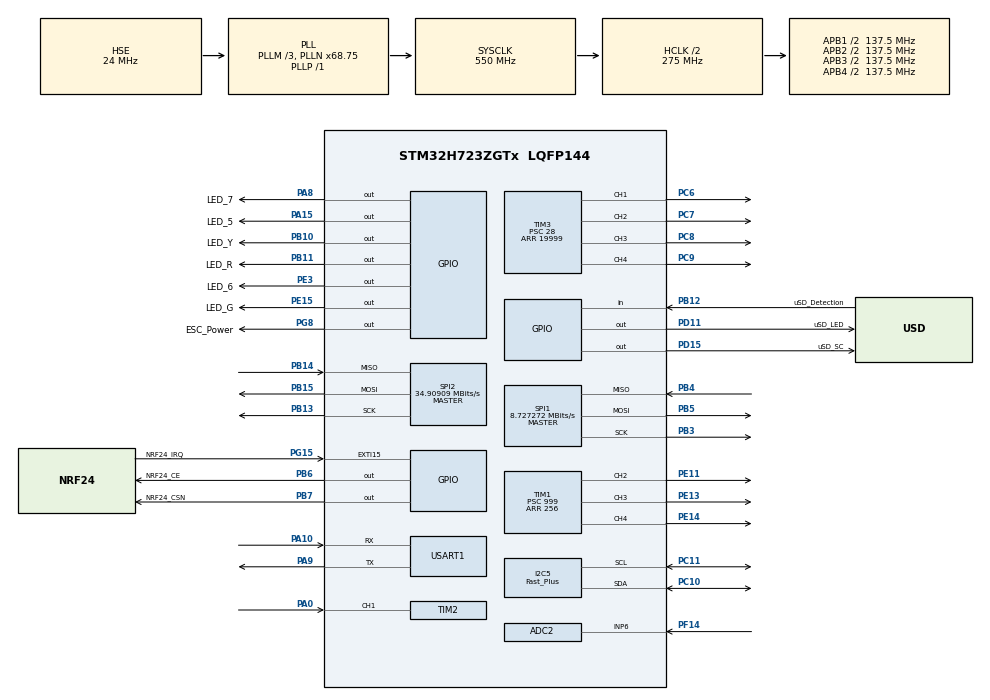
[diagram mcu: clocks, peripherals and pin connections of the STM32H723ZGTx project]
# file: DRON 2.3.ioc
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ADC2.Channel-0\#ChannelRegularConversion=ADC_CHANNEL_6
ADC2.ClockPrescaler=ADC_CLOCK_ASYNC_DIV8
ADC2.ContinuousConvMode=DISABLE
ADC2.ConversionDataManagement=ADC_CONVERSIONDATA_DMA_CIRCULAR
ADC2.EnableAnalogWatchDog2=false
ADC2.ExternalTrigConv=ADC_EXTERNALTRIG_T8_TRGO
ADC2.NbrOfConversionFlag=1
ADC2.OffsetNumber-0\#ChannelRegularConversion=ADC_OFFSET_NONE
ADC2.OffsetSignedSaturation-0\#ChannelRegularConversion=DISABLE
ADC2.Overrun=ADC_OVR_DATA_OVERWRITTEN
ADC2.Rank-0\#ChannelRegularConversion=1
ADC2.Resolution=ADC_RESOLUTION_12B
ADC2.SamplingTime-0\#ChannelRegularConversion=ADC_SAMPLETIME_810CYCLES_5
CORTEX_M7.CPU_DCache=Disabled
CORTEX_M7.CPU_ICache=Disabled
CORTEX_M7.Enable_Spec=MPU_REGION_ENABLE
CORTEX_M7.default_mode_Activation=1
Dma.ADC2.0.Direction=DMA_PERIPH_TO_MEMORY
Dma.ADC2.0.EventEnable=DISABLE
Dma.ADC2.0.FIFOMode=DMA_FIFOMODE_DISABLE
Dma.ADC2.0.Instance=DMA2_Stream0
Dma.ADC2.0.MemDataAlignment=DMA_MDATAALIGN_HALFWORD
Dma.ADC2.0.MemInc=DMA_MINC_ENABLE
Dma.ADC2.0.Mode=DMA_CIRCULAR
Dma.ADC2.0.PeriphDataAlignment=DMA_PDATAALIGN_HALFWORD
Dma.ADC2.0.PeriphInc=DMA_PINC_DISABLE
Dma.ADC2.0.Polarity=HAL_DMAMUX_REQ_GEN_RISING
Dma.ADC2.0.Priority=DMA_PRIORITY_LOW
Dma.ADC2.0.RequestNumber=1
Dma.ADC2.0.SignalID=NONE
Dma.ADC2.0.SyncEnable=DISABLE
Dma.ADC2.0.SyncPolarity=HAL_DMAMUX_SYNC_NO_EVENT
Dma.ADC2.0.SyncRequestNumber=1
Dma.ADC2.0.SyncSignalID=NONE
Dma.Request0=ADC2
Dma.Request1=SPI2_TX
Dma.SPI2_TX.1.Direction=DMA_MEMORY_TO_PERIPH
Dma.SPI2_TX.1.EventEnable=DISABLE
Dma.SPI2_TX.1.FIFOMode=DMA_FIFOMODE_ENABLE
Dma.SPI2_TX.1.FIFOThreshold=DMA_FIFO_THRESHOLD_FULL
Dma.SPI2_TX.1.Instance=DMA1_Stream0
Dma.SPI2_TX.1.MemBurst=DMA_MBURST_SINGLE
Dma.SPI2_TX.1.MemDataAlignment=DMA_MDATAALIGN_BYTE
Dma.SPI2_TX.1.MemInc=DMA_MINC_ENABLE
Dma.SPI2_TX.1.Mode=DMA_NORMAL
Dma.SPI2_TX.1.PeriphBurst=DMA_PBURST_SINGLE
Dma.SPI2_TX.1.PeriphDataAlignment=DMA_PDATAALIGN_BYTE
Dma.SPI2_TX.1.PeriphInc=DMA_PINC_DISABLE
Dma.SPI2_TX.1.Polarity=HAL_DMAMUX_REQ_GEN_RISING
Dma.SPI2_TX.1.Priority=DMA_PRIORITY_LOW
Dma.SPI2_TX.1.RequestNumber=1
Dma.SPI2_TX.1.SignalID=NONE
Dma.SPI2_TX.1.SyncEnable=DISABLE
Dma.SPI2_TX.1.SyncPolarity=HAL_DMAMUX_SYNC_NO_EVENT
Dma.SPI2_TX.1.SyncRequestNumber=1
Dma.SPI2_TX.1.SyncSignalID=NONE
FATFS._FS_LOCK=1
FATFS._MAX_SS=4096
FATFS._USE_LFN=1
I2C5.Analog_Filter=I2C_ANALOGFILTER_ENABLE
I2C5.I2C_Speed_Mode=I2C_Fast_Plus
I2C5.Timing=0x00000000
Mcu.Family=STM32H7
Mcu.Name=STM32H723ZGTx
Mcu.Package=LQFP144
NVIC.ADC_IRQn=true\:0\:0\:true\:false\:true\:true\:true\:true
NVIC.DMA1_Stream0_IRQn=true\:0\:0\:true\:false\:true\:false\:true\:true
NVIC.DMA2_Stream0_IRQn=true\:0\:0\:false\:false\:true\:false\:true\:true
NVIC.EXTI15_10_IRQn=true\:0\:0\:true\:false\:true\:true\:true\:true
NVIC.I2C5_EV_IRQn=true\:1\:0\:true\:false\:true\:true\:true\:true
NVIC.PriorityGroup=NVIC_PRIORITYGROUP_4
NVIC.SPI1_IRQn=true\:0\:0\:false\:false\:true\:true\:true\:true
NVIC.SPI2_IRQn=true\:0\:0\:true\:false\:true\:true\:true\:true
NVIC.TIM23_IRQn=true\:0\:0\:false\:false\:true\:true\:true\:true
NVIC.TIM24_IRQn=true\:0\:0\:false\:false\:true\:true\:true\:true
NVIC.TIM2_IRQn=true\:1\:0\:true\:false\:true\:true\:true\:true
NVIC.USART1_IRQn=true\:0\:0\:true\:false\:true\:true\:true\:true
PA0.Signal=S_TIM2_CH1_ETR
PA10.Mode=Asynchronous
PA10.Signal=USART1_RX
PA13(JTMS/SWDIO).Mode=Serial_Wire
PA13(JTMS/SWDIO).Signal=DEBUG_JTMS-SWDIO
PA14(JTCK/SWCLK).Mode=Serial_Wire
PA14(JTCK/SWCLK).Signal=DEBUG_JTCK-SWCLK
PA15(JTDI).GPIO_Label=LED_5
PA15(JTDI).Signal=GPIO_Output
PA8.GPIO_Label=LED_7
PA8.Signal=GPIO_Output
PA9.Mode=Asynchronous
PA9.Signal=USART1_TX
PB10.GPIO_Label=LED_Y
PB10.Signal=GPIO_Output
PB11.GPIO_Label=LED_R
PB11.Signal=GPIO_Output
PB12.GPIO_Label=uSD_Detection
PB12.Signal=GPIO_Input
PB13.GPIO_Speed=GPIO_SPEED_FREQ_MEDIUM
PB13.Mode=Full_Duplex_Master
PB13.Signal=SPI2_SCK
PB14.GPIO_PuPd=GPIO_PULLUP
PB14.GPIO_Speed=GPIO_SPEED_FREQ_MEDIUM
PB14.Mode=Full_Duplex_Master
PB14.Signal=SPI2_MISO
PB15.GPIO_PuPd=GPIO_PULLUP
PB15.GPIO_Speed=GPIO_SPEED_FREQ_MEDIUM
PB15.Mode=Full_Duplex_Master
PB15.Signal=SPI2_MOSI
PB3(JTDO/TRACESWO).Mode=Full_Duplex_Master
PB3(JTDO/TRACESWO).Signal=SPI1_SCK
PB4(NJTRST).Mode=Full_Duplex_Master
PB4(NJTRST).Signal=SPI1_MISO
PB5.Mode=Full_Duplex_Master
PB5.Signal=SPI1_MOSI
PB6.GPIO_Label=NRF24_CE
PB6.Signal=GPIO_Output
PB7.GPIO_Label=NRF24_CSN
PB7.Signal=GPIO_Output
PC10.GPIO_Pu=GPIO_PULLUP
PC10.Mode=I2C
PC10.Signal=I2C5_SDA
PC11.GPIO_Pu=GPIO_PULLUP
PC11.Mode=I2C
PC11.Signal=I2C5_SCL
PC6.Signal=S_TIM3_CH1
PC7.Signal=S_TIM3_CH2
PC8.Signal=S_TIM3_CH3
PC9.Signal=S_TIM3_CH4
PD11.GPIO_Label=uSD_LED
PD11.Signal=GPIO_Output
PD15.GPIO_Label=uSD_SC
PD15.GPIO_Speed=GPIO_SPEED_FREQ_MEDIUM
PD15.Signal=GPIO_Output
PE11.Signal=S_TIM1_CH2
PE13.Signal=S_TIM1_CH3
PE14.Signal=S_TIM1_CH4
PE15.GPIO_Label=LED_G
PE15.Signal=GPIO_Output
PE3.GPIO_Label=LED_6
PE3.Signal=GPIO_Output
PF14.Mode=IN6-Single-Ended
PF14.Signal=ADC2_INP6
PG15.GPIO_Label=NRF24_IRQ
PG15.GPIO_ModeDefaultEXTI=GPIO_MODE_IT_FALLING
PG15.Signal=GPXTI15
PG8.GPIO_Label=ESC_Power
PG8.Signal=GPIO_Output
PH0-OSC_IN.Mode=HSE-External-Oscillator
PH0-OSC_IN.Signal=RCC_OSC_IN
PH1-OSC_OUT.Mode=HSE-External-Oscillator
PH1-OSC_OUT.Signal=RCC_OSC_OUT
ProjectManager.HeapSize=0x200
ProjectManager.StackSize=0x400
ProjectManager.TargetToolchain=STM32CubeIDE
RCC.ADCFreq_Value=69818181.81818181
RCC.APB1Freq_Value=137500000
RCC.APB2Freq_Value=137500000
RCC.APB3Freq_Value=137500000
RCC.APB4Freq_Value=137500000
RCC.CortexFreq_Value=550000000
RCC.D1PPRE=RCC_APB3_DIV2
RCC.D2PPRE1=RCC_APB1_DIV2
RCC.D2PPRE2=RCC_APB2_DIV2
RCC.D3PPRE=RCC_APB4_DIV2
RCC.DIVM1=3
RCC.DIVM2=22
RCC.DIVM3=24
RCC.DIVN1=68
RCC.DIVN2=192
RCC.DIVN3=200
RCC.DIVP1=1
RCC.DIVP2=3
RCC.DIVP3=1
RCC.DIVQ3=10
RCC.HCLKFreq_Value=275000000
RCC.HPRE=RCC_HCLK_DIV2
RCC.HSE_VALUE=24000000
RCC.I2C123CLockSelection=RCC_I2C1235CLKSOURCE_CSI
RCC.PLL2FRACN=0
RCC.PLL3FRACN=0
RCC.PLLFRACN=6144
RCC.PLLSourceVirtual=RCC_PLLSOURCE_HSE
RCC.SPI123CLockSelection=RCC_SPI123CLKSOURCE_PLL2
RCC.SPI6CLockSelection=RCC_SPI6CLKSOURCE_PLL3
RCC.SYSCLKFreq_VALUE=550000000
RCC.SYSCLKSource=RCC_SYSCLKSOURCE_PLLCLK
RCC.SupplySource=PWR_LDO_SUPPLY
RCC.USBFreq_Value=275000000
SH.S_TIM1_CH2.0=TIM1_CH2,PWM Generation2 CH2
SH.S_TIM1_CH3.0=TIM1_CH3,PWM Generation3 CH3
SH.S_TIM1_CH4.0=TIM1_CH4,PWM Generation4 CH4
SH.S_TIM2_CH1_ETR.0=TIM2_CH1,Input_Capture1_from_TI1
SH.S_TIM3_CH1.0=TIM3_CH1,PWM Generation1 CH1
SH.S_TIM3_CH2.0=TIM3_CH2,PWM Generation2 CH2
SH.S_TIM3_CH3.0=TIM3_CH3,PWM Generation3 CH3
SH.S_TIM3_CH4.0=TIM3_CH4,PWM Generation4 CH4
SPI1.BaudRatePrescaler=SPI_BAUDRATEPRESCALER_8
SPI1.CalculateBaudRate=8.727272 MBits/s
SPI1.DataSize=SPI_DATASIZE_8BIT
SPI1.Direction=SPI_DIRECTION_2LINES
SPI1.Mode=SPI_MODE_MASTER
SPI1.VirtualType=VM_MASTER
SPI2.BaudRatePrescaler=SPI_BAUDRATEPRESCALER_2
SPI2.CalculateBaudRate=34.90909 MBits/s
SPI2.DataSize=SPI_DATASIZE_8BIT
SPI2.Direction=SPI_DIRECTION_2LINES
SPI2.MasterInterDataIdleness=SPI_MASTER_INTERDATA_IDLENESS_00CYCLE
SPI2.MasterSSIdleness=SPI_MASTER_SS_IDLENESS_00CYCLE
SPI2.Mode=SPI_MODE_MASTER
SPI2.VirtualType=VM_MASTER
TIM1.AutoReloadPreload=TIM_AUTORELOAD_PRELOAD_ENABLE
TIM1.Channel-PWM\ Generation2\ CH2=TIM_CHANNEL_2
TIM1.Channel-PWM\ Generation3\ CH3=TIM_CHANNEL_3
TIM1.Channel-PWM\ Generation4\ CH4=TIM_CHANNEL_4
TIM1.Period=256
TIM1.Prescaler=999
TIM2.AutoReloadPreload=TIM_AUTORELOAD_PRELOAD_ENABLE
TIM2.Channel-Input_Capture1_from_TI1=TIM_CHANNEL_1
TIM2.Period=999
TIM2.Prescaler=274
TIM23.Channel-Output\ Compare1\ No\ Output=TIM_CHANNEL_1
TIM23.Period=1374
TIM23.Prescaler=99
TIM24.Channel-Output\ Compare1\ No\ Output=TIM_CHANNEL_1
TIM24.Period=27499
TIM24.Prescaler=999
TIM3.AutoReloadPreload=TIM_AUTORELOAD_PRELOAD_DISABLE
TIM3.Channel-PWM\ Generation1\ CH1=TIM_CHANNEL_1
TIM3.Channel-PWM\ Generation2\ CH2=TIM_CHANNEL_2
TIM3.Channel-PWM\ Generation3\ CH3=TIM_CHANNEL_3
TIM3.Channel-PWM\ Generation4\ CH4=TIM_CHANNEL_4
TIM3.Period=19999
TIM3.Prescaler=28
TIM8.AutoReloadPreload=TIM_AUTORELOAD_PRELOAD_DISABLE
TIM8.Period=9999
TIM8.Prescaler=5549
TIM8.TIM_MasterOutputTrigger=TIM_TRGO_UPDATE
TIM8.TIM_MasterOutputTrigger2=TIM_TRGO2_UPDATE
USART1.VirtualMode-Asynchronous=VM_ASYNC
VP_FATFS_VS_Generic.Mode=User_defined
VP_MEMORYMAP_VS_MEMORYMAP.Mode=CurAppReg
VP_TIM23_VS_no_output1.Mode=Output Compare1 No Output
VP_TIM24_VS_no_output1.Mode=Output Compare1 No Output
VP_TIM8_VS_ClockSourceINT.Mode=Internal
board=custom

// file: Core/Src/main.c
/* USER CODE BEGIN Header */
/**
  ******************************************************************************
  * @file           : main.c
  * @brief          : Main program body
  ******************************************************************************
  * @attention
  *
  * Copyright (c) 2024 STMicroelectronics.
  * All rights reserved.
  *
  * This software is licensed under terms that can be found in the LICENSE file
  * in the root directory of this software component.
  * If no LICENSE file comes with this software, it is provided AS-IS.
  *
  ******************************************************************************
  */
/* USER CODE END Header */
#include "main.h"
#include "adc.h"
#include "dma.h"
#include "fatfs.h"
#include "i2c.h"
#include "memorymap.h"
#include "spi.h"
#include "tim.h"
#include "usart.h"
#include "gpio.h"

/* USER CODE BEGIN Includes */
#include "fatfs_sd.h"

/* USER CODE END Includes */

/* USER CODE BEGIN PD */
#define DRAM __attribute__((section (".DRAM")))
#define IRAM __attribute__((section (".IRAM")))
#define RAM1 __attribute__((section (".RAM1")))

#define LED_G_1 HAL_GPIO_WritePin(LED_G_GPIO_Port, LED_G_Pin, GPIO_PIN_SET)
#define LED_G_0 HAL_GPIO_WritePin(LED_G_GPIO_Port, LED_G_Pin, GPIO_PIN_RESET)

#define LED_R_1 HAL_GPIO_WritePin(LED_R_GPIO_Port, LED_R_Pin, GPIO_PIN_SET)
#define LED_R_0 HAL_GPIO_WritePin(LED_R_GPIO_Port, LED_R_Pin, GPIO_PIN_RESET)

#define LED_Y_1 HAL_GPIO_WritePin(LED_Y_GPIO_Port, LED_Y_Pin, GPIO_PIN_SET)
#define LED_Y_0 HAL_GPIO_WritePin(LED_Y_GPIO_Port, LED_Y_Pin, GPIO_PIN_RESET)

#define LED_5_1 HAL_GPIO_WritePin(LED_5_GPIO_Port, LED_5_Pin, GPIO_PIN_SET) // GY-87 LED
#define LED_5_0 HAL_GPIO_WritePin(LED_5_GPIO_Port, LED_5_Pin, GPIO_PIN_RESET)

#define LED_6_1 HAL_GPIO_WritePin(LED_6_GPIO_Port, LED_6_Pin, GPIO_PIN_SET) // NRF24 LED
#define LED_6_0 HAL_GPIO_WritePin(LED_6_GPIO_Port, LED_6_Pin, GPIO_PIN_RESET)

#define LED_7_1 HAL_GPIO_WritePin(LED_7_GPIO_Port, LED_7_Pin, GPIO_PIN_SET) // USART LED
#define LED_7_0 HAL_GPIO_WritePin(LED_7_GPIO_Port, LED_7_Pin, GPIO_PIN_RESET)

#define LED_uSD_1 HAL_GPIO_WritePin(uSD_LED_GPIO_Port, uSD_LED_Pin, GPIO_PIN_SET) // uSD LED
#define LED_uSD_0 HAL_GPIO_WritePin(uSD_LED_GPIO_Port, uSD_LED_Pin, GPIO_PIN_RESET)

#define ESC_POWER_1 HAL_GPIO_WritePin(ESC_Power_GPIO_Port, ESC_Power_Pin, GPIO_PIN_SET)//1 = unucitve
#define ESC_POWER_0 HAL_GPIO_WritePin(ESC_Power_GPIO_Port, ESC_Power_Pin, GPIO_PIN_RESET)//0 = active

#define NRF24_CSN_HIGH		HAL_GPIO_WritePin(NRF24_CSN_GPIO_Port, NRF24_CSN_Pin, GPIO_PIN_SET)
#define NRF24_CSN_LOW		HAL_GPIO_WritePin(NRF24_CSN_GPIO_Port, NRF24_CSN_Pin, GPIO_PIN_RESET)

#define NRF24_CE_HIGH		HAL_GPIO_WritePin(NRF24_CE_GPIO_Port, NRF24_CE_Pin, GPIO_PIN_SET)
#define NRF24_CE_LOW		HAL_GPIO_WritePin(NRF24_CE_GPIO_Port, NRF24_CE_Pin, GPIO_PIN_RESET)

/* USER CODE END PD */

/* USER CODE BEGIN PV */
IRAM MPU6050_Struct MPU6050;
IRAM Complementary_Filter data;
IRAM BMP180_Struct BMP180;
IRAM NRF24_Struct NRF24;
IRAM Dron MYDRON;
IRAM Stack Old_Data_stack;
IRAM HMC5883L_Struct HMC5883L;
IRAM USART_Struct USART;

///////// main
IRAM int TIM_inte_SD = 0, TIM_inte = 0;
IRAM uint8_t STARTUP = 1;
IRAM uint32_t NRF_TIM_Inte = 0;
RAM1 uint32_t analogmess;
IRAM uint32_t i = 0, loopnum = 0;
IRAM uint8_t NRF24_Messages_SC = 0;
IRAM uint8_t NRF24_inte = 0;
IRAM uint16_t FDP_D_Gain_AR = 0;
IRAM uint16_t FDP_D_Gain = 0;
const float looptime = 0.001;
IRAM float wobble_strenght = 1;
const uint16_t DRON_SLOWFALING = 3000;
IRAM uint8_t DRON_ON_GRUND;

#define FDP_Mag_Z_FQ 2
#define FDP_FQ 2

///////////// uSD
RAM1 FATFS fs;
RAM1 FRESULT fresult;
RAM1 FIL fil;
RAM1 UINT br, bw;

IRAM uint32_t Mainloop_Number = 0;
IRAM uint32_t SD_In_Use = 0;
RAM1 uint8_t DataToSendBuffer[129000];//129
IRAM uint8_t SD_enable_Flag = 0;
/* USER CODE END PV */

void SystemClock_Config(void);
void PeriphCommonClock_Config(void);
static void MPU_Config(void);

int main(void)
{

  /* MPU Configuration--------------------------------------------------------*/
  MPU_Config();

  /* MCU Configuration--------------------------------------------------------*/

  /* Reset of all peripherals, Initializes the Flash interface and the Systick. */
  HAL_Init();

  /* Configure the system clock */
  SystemClock_Config();

  /* Configure the peripherals common clocks */
  PeriphCommonClock_Config();

  /* Initialize all configured peripherals */
  MX_GPIO_Init();
  MX_DMA_Init();
  MX_I2C5_Init();
  MX_ADC2_Init();
  MX_SPI2_Init();
  MX_USART1_UART_Init();
  MX_TIM1_Init();
  MX_TIM8_Init();
  MX_TIM3_Init();
  MX_FATFS_Init();
  MX_TIM2_Init();
  MX_SPI1_Init();
  MX_TIM23_Init();
  MX_TIM24_Init();
  /* USER CODE BEGIN 2 */
  	  ESC_POWER_1;

  	STARTUP = 1;
  	DRON_ON_GRUND = 1;

  	MPU6050.Acc.Acc_Scale = 8192;
  	MPU6050.Acc.acc_x_cal = 0;
  	MPU6050.Acc.acc_y_cal = 0;
  	MPU6050.Acc.acc_z_cal = 0;
  	MPU6050.Acc.ax_ang = 0;
  	MPU6050.Acc.ay_ang = 0;
  	MPU6050.Acc.az_ang = 0;
  	MPU6050.Acc.ax = 0;
  	MPU6050.Acc.ay = 0;
  	MPU6050.Acc.az = 0;
  	MPU6050.Gyr.Gyr_Scale = 65.5;
  	MPU6050.Gyr.gyr_x_cal = 0;
  	MPU6050.Gyr.gyr_y_cal = 0;
  	MPU6050.Gyr.gyr_z_cal = 0;
  	MPU6050.Gyr.gx = 0;
  	MPU6050.Gyr.gy = 0;
  	MPU6050.Gyr.gz = 0;
  	MPU6050.MPU6050_IRQ = 0;

  	data.x = 0;
  	data.y = 0;
  	data.z = 0;
  	data.ox = 0;
  	data.oy = 0;
  	data.oz = 0;

	NRF24.NRF24_MODE = NRF24_Error;
	NRF24.Status = NRF24_Ready;
	NRF24.Message_Status = 0;
	NRF24.NRF24_Message_count = 0;
	NRF24.Timer_1 = 0;
	NRF24.Timer_2 = 0;
	NRF24.Step = 0;
	NRF24.SPI_Rx_Inte = 0;
	NRF24.SPI_Tx_Inte = 0;

	BMP180.BMP180_IRQ = 0;
	BMP180.ampritude = 0;
	BMP180.pres = 0;
	BMP180.startpres = 0;
	BMP180.temp = 0;
	BMP180.Raw_Data.pressure = 0;
	BMP180.Raw_Data.temperature = 0;
	BMP180.Timer_1 = 0;
	BMP180.Step = 0;

	MYDRON.dronheight = 0;
	MYDRON.batterysize = 0;

	MYDRON.Pitch.Angle_Error_Sum = 0;
	MYDRON.Pitch.Angle_Error = 0;
	MYDRON.Pitch.Angular_Rate_Error = 0;
	MYDRON.Pitch.Angular_Rate_Error_Sum = 0;
	MYDRON.Pitch.Last_Wanted_rx = 0;
	MYDRON.Pitch.Now = 0;
	MYDRON.Pitch.Old_Angle_Error = 0;
	MYDRON.Pitch.Old_Angular_Rate_Error = 0;
	MYDRON.Pitch.Value = 0;
	MYDRON.Pitch.Wanted = 0;
	MYDRON.Pitch.Wanted_Factor = 0.65;
	MYDRON.Pitch.Wanted_rx = 0;
	MYDRON.Pitch.Wanted_v = 0;

	MYDRON.Rool.Angle_Error_Sum = 0;
	MYDRON.Rool.Angle_Error = 0;
	MYDRON.Rool.Angular_Rate_Error = 0;
	MYDRON.Rool.Angular_Rate_Error_Sum = 0;
	MYDRON.Rool.Last_Wanted_rx = 0;
	MYDRON.Rool.Now = 0;
	MYDRON.Rool.Old_Angle_Error = 0;
	MYDRON.Rool.Old_Angular_Rate_Error = 0;
	MYDRON.Rool.Value = 0;
	MYDRON.Rool.Wanted = 0;
	MYDRON.Rool.Wanted_Factor = 0.66;
	MYDRON.Rool.Wanted_rx = 0;
	MYDRON.Rool.Wanted_v = 0;

	MYDRON.Yaw.Angle_Error_Sum = 0;
	MYDRON.Yaw.Angle_Error = 0;
	MYDRON.Yaw.Angular_Rate_Error = 0;
	MYDRON.Yaw.Angular_Rate_Error_Sum = 0;
	MYDRON.Yaw.Last_Wanted_rx = 0;
	MYDRON.Yaw.Now = 0;
	MYDRON.Yaw.Old_Angle_Error = 0;
	MYDRON.Yaw.Old_Angular_Rate_Error = 0;
	MYDRON.Yaw.Value = 0;
	MYDRON.Yaw.Wanted = 0;
	MYDRON.Yaw.Wanted_Factor = 0.6;
	MYDRON.Yaw.Wanted_rx = 0;
	MYDRON.Yaw.Wanted_v = 0;

	MYDRON.PID_Pitch.Angle_Factors[0] = 6;
	MYDRON.PID_Pitch.Angle_Factors[1] = 8;
	MYDRON.PID_Pitch.Angle_Factors[2] = 25;
	MYDRON.PID_Pitch.Angle_Factors[3] = 0;
	MYDRON.PID_Pitch.Angle_Factors[4] = 0;
	MYDRON.PID_Pitch.Angular_Rate_Factors[0] = 10;
	MYDRON.PID_Pitch.Angular_Rate_Factors[1] = 0;
	MYDRON.PID_Pitch.Angular_Rate_Factors[2] = 30;
	MYDRON.PID_Pitch.Angular_Rate_Factors[3] = 0;
	MYDRON.PID_Pitch.Angular_Rate_Factors[4] = 0;
	MYDRON.PID_Pitch.Angle_Value = 0;
	MYDRON.PID_Pitch.Angular_Rate_Value = 0;

	MYDRON.PID_Rool.Angle_Factors[0] = 5;
	MYDRON.PID_Rool.Angle_Factors[1] = 10;
	MYDRON.PID_Rool.Angle_Factors[2] = 0;
	MYDRON.PID_Rool.Angle_Factors[3] = 0;
	MYDRON.PID_Rool.Angle_Factors[4] = 0;
	MYDRON.PID_Rool.Angular_Rate_Factors[0] =  10;
	MYDRON.PID_Rool.Angular_Rate_Factors[1] = 0;
	MYDRON.PID_Rool.Angular_Rate_Factors[2] = 20;
	MYDRON.PID_Rool.Angular_Rate_Factors[3] = 0;
	MYDRON.PID_Rool.Angular_Rate_Factors[4] = 0;
	MYDRON.PID_Rool.Angle_Value = 0;
	MYDRON.PID_Rool.Angular_Rate_Value = 0;

	MYDRON.PID_Yaw.Angle_Factors[0] = 10;
	MYDRON.PID_Yaw.Angle_Factors[1] = 0;
	MYDRON.PID_Yaw.Angle_Factors[2] = 0;
	MYDRON.PID_Yaw.Angle_Factors[3] = 0;
	MYDRON.PID_Yaw.Angle_Factors[4] = 0;
	MYDRON.PID_Yaw.Angular_Rate_Factors[0] = 15;
	MYDRON.PID_Yaw.Angular_Rate_Factors[1] = 0;
	MYDRON.PID_Yaw.Angular_Rate_Factors[2] = 5;
	MYDRON.PID_Yaw.Angular_Rate_Factors[3] = 0;
	MYDRON.PID_Yaw.Angular_Rate_Factors[4] = 0;
	MYDRON.PID_Yaw.Angle_Value = 0;
	MYDRON.PID_Yaw.Angular_Rate_Value = 0;

	MYDRON.Thrust.Now = 0;
	MYDRON.Thrust.Old_Speed_1 = min_speed;
	MYDRON.Thrust.Old_Speed_2 = min_speed;
	MYDRON.Thrust.Old_Speed_3 = min_speed;
	MYDRON.Thrust.Old_Speed_4 = min_speed;
	MYDRON.Thrust.Speed_1 = min_speed;
	MYDRON.Thrust.Speed_2 = min_speed;
	MYDRON.Thrust.Speed_3 = min_speed;
	MYDRON.Thrust.Speed_4 = min_speed;
	MYDRON.Thrust.Thrust_Limit = 10000;
	MYDRON.Thrust.Values = 0;
	MYDRON.Thrust.Wanted = 0;

	MYDRON.Status.Battery = DRON_BATTERY_OK;
	MYDRON.Status.Code = DRON_CODE_OK;
	MYDRON.Status.Connection = DRON_CONNECTED;
	MYDRON.Status.Wobble = NO_WOBBLE;

	HMC5883L.Directions.Heading = 0;
	HMC5883L.Directions.Old_X = 0;
	HMC5883L.Directions.Old_Y = 0;
	HMC5883L.Directions.Old_Z = 0;
	HMC5883L.Directions.X = 0;
	HMC5883L.Directions.Y = 0;
	HMC5883L.Directions.Z = 0;
	HMC5883L.HMC583L_IRQ = 0;
	HMC5883L.Off_Set_Values.X = 0;
	HMC5883L.Off_Set_Values.Y = 0;
	HMC5883L.Off_Set_Values.Z = 0;

  	TIM_inte_SD = 0, TIM_inte = 0;
  	NRF_TIM_Inte = 0;
  	FDP_D_Gain_AR = 0;
  	FDP_D_Gain = 0;
  	Mainloop_Number = 0;
  	SD_In_Use = 0;
  	wobble_strenght = 1;
  	i = 0, loopnum = 0;
  	NRF24_inte = 0;

  	uint8_t o[3] = "Odb";
  	uint8_t n[3] = "Nad";

  	LED_5_1;
  	LED_6_1;
  	LED_7_1;
  	LED_uSD_1;
  	LED_G_1;
  	LED_Y_1;
  	LED_R_1;
  	HAL_Delay(1000);
  	LED_G_0;
  	LED_Y_0;
  	LED_R_0;
  	LED_5_0;
  	LED_6_0;
  	LED_7_0;
  	LED_uSD_0;

  	for(int i = 0; i < 4000; i++){
  		Old_Data_stack.olddata[i] = 0;
  	}
  	Old_Data_stack.start_pointer = 0;
  	Old_Data_stack.end_pointer = 4000;

  	analogmess = 0;

  	HAL_TIM_Base_Start(&htim8);
  	HAL_ADC_Start_DMA(&hadc2, &analogmess, 1);
  	LED_R_1;
  	while(analogmess == 0){

  	}
  	LED_R_0;

  	Get_batteryvalue();

  	HAL_TIM_PWM_Start(&htim1, TIM_CHANNEL_2);//pwm do diodt RGB
  	HAL_TIM_PWM_Start(&htim1, TIM_CHANNEL_3);
  	HAL_TIM_PWM_Start(&htim1, TIM_CHANNEL_4);

  	RGB_LED_For_BAT(MYDRON.batterysize);
  	if(MYDRON.Status.Battery == DRON_BATTERY_RUN_OUT)
  	{
  		LED_R_1;
  		while(1){

  		}
  	}
  	if(MYDRON.Status.Battery == DRON_BATTERY_CRIT_VAL){
  		LED_R_1;

  		while(1){
  		}
  	}

  /////////////////////////////// uSD
	SD_enable_Flag = HAL_GPIO_ReadPin(uSD_Detection_GPIO_Port, uSD_Detection_Pin);// jezeli karta SD jest wlozona, pin CardDetect jest zwierany do masy

	if(SD_enable_Flag == 1){
		SD_enable_Flag = 0;
	}
	else{
		SD_enable_Flag = 1;
	}

	if(SD_enable_Flag == 1){
		LED_uSD_1;
		fresult = f_mount(&fs, "/", 1);
		fresult = f_unlink("/file.txt");//skasowanie poprzedniego pliku
		fresult = f_mount(&fs, "/", 1);
		fresult = f_open(&fil, "file.txt", FA_CREATE_ALWAYS | FA_WRITE);// utwozenie nowego pliku
		LED_uSD_0;

		LED_uSD_1;
		for(int i = 0; i < 129000; i++){
			DataToSendBuffer[i] = 49;
		}
		fresult = f_write(&fil, DataToSendBuffer, 129, &bw);//64000
		fresult = f_close(&fil);

		if(fresult != FR_OK){
			NVIC_SystemReset();
			while(1){

			}
		}
		LED_uSD_0;
	}

	/////////////////////////////// MPU6050
		LED_5_1;
		if(MPU6050_INIT(&hi2c5) == 0){
			LED_R_1;
			NVIC_SystemReset();
			while(1){
			}
		}
		LED_Y_1;
		MPU6050_CALIBRATION();
		LED_Y_0;

	/////////////////////////////// BMP180
		if(BMP180_init(&hi2c5) == 0){
			LED_R_1;
			NVIC_SystemReset();
			while(1){
			}
		}
		LED_Y_1;
		BMP180_CALIBRATION(&BMP180.startpres);
		LED_Y_0;
	/////////////////////////////// HMC5883L
		if(HMC5883L_Init(&hi2c5) == 0){
			LED_R_1;
			NVIC_SystemReset();
			while(1){
			}
		}
		LED_Y_1;
		HMC5883L.Off_Set_Values.Z = HMC5883L_Calibration();
		LED_Y_0;

		LED_5_0;

	/////////////////////////////// nRF24
		LED_6_1;
		nRF24_Init(&hspi1);
		nRF24_SetRXAddress(0, o);
		nRF24_SetTXAddress(n);
		nRF24_TX_Mode();
		NRF24.NRF24_MODE = NRF24_Tx_Mode;

		for(int i = 0; i < 32; i++){
			NRF24.Txcode[i] = 0;
		}
		NRF24.Txcode[22] = 'd';
		NRF24.Txcode[23] = 'r';
		NRF24.Txcode[24] = 'o';
		NRF24.Txcode[25] = 'n';
		NRF24.Txcode[26] = '2';
		NRF24.Txcode[27] = 'c';
		NRF24.Txcode[28] = '1';
		NRF24.Txcode[29] = 'z';
		NRF24.Txcode[30] = 'a';
		NRF24.Txcode[31] = '7';

		nRF24_WriteTXPayload(NRF24.Txcode);
		nRF24_WaitTX();
		nRF24_RX_Mode();
		NRF24.NRF24_MODE = NRF24_Rx_Mode;

		uint8_t cunter = 0;

		while(nRF24_IsBitSetInFifoStatus(NRF24_RX_EMPTY) == 1){
			LED_G_1;
			LED_Y_1;
			HAL_Delay(1);
			LED_G_0;
			LED_Y_0;

			cunter++;
			if(cunter == 200){
				NVIC_SystemReset();
			}
		}

		while(NRF24_inte != 1){

		}
		nRF24_ReadRXPaylaod(NRF24.RxData);
		STARTUP = 0;
		LED_6_0;
		for(int i = 12; i < 22; i++){
			NRF24.Rxcode[i] = NRF24.RxData[i];
		}
	///////////////////////////////////////////////////////////////////////
		HAL_TIM_Base_Start_IT(&htim2); // przerwanie co 1 ms

		ESC_INT(&htim3);

		LED_7_1;
		HAL_UART_Receive_IT(&huart1, &USART.Received, 1);
		LED_7_0;

		HAL_TIM_Base_Start_IT(&htim24);//przerwanie co 100ms

		Get_batteryvalue();
	  	RGB_LED_For_BAT(MYDRON.batterysize);

	  	if(MYDRON.Status.Battery == DRON_BATTERY_RUN_OUT)
	  	{
	  		LED_R_1;
	  		while(1){

	  		}
	  	}

	  	if(MYDRON.Status.Battery == DRON_BATTERY_CRIT_VAL){
	  		LED_R_1;
	  		while(1){
	  		}
	  	}

  /* USER CODE END 2 */

  /* Infinite loop */
  /* USER CODE BEGIN WHILE */
  while (1)
  {
	  if(MYDRON.Status.Battery == DRON_BATTERY_RUN_OUT){
	  			LED_R_1;
	  			MYDRON.Thrust.Thrust_Limit = MYDRON.Thrust.Now;
	  		}
	  		if(MYDRON.Status.Battery == DRON_BATTERY_OK){
	  			MYDRON.Thrust.Thrust_Limit = 10000;
	  		}
	  		if(MYDRON.Status.Battery == DRON_BATTERY_CRIT_VAL){
	  			ESC_POWER_1;
	  			LED_R_1;
	  			f_close(&fil);
	  			while(MYDRON.Status.Battery == DRON_BATTERY_CRIT_VAL){
	  				HAL_Delay(10);
	  				Get_batteryvalue();
	  			}
	  		}

	  		if(USART.commandready == 1){
	  			LED_7_1;
	  			interpretcommand();
	  			executecommand(USART.command, USART.UASRT_PID_VAL);
	  			LED_7_0;
	  		}

	  		if((TIM_inte_SD == 1) && (fresult == FR_OK) && (SD_enable_Flag == 1)){// 1ms, 1KHz
	  			TIM_inte_SD = 0;

	  			uSD_Card_SendData_To_Buffer(Mainloop_Number);

	  			if(Mainloop_Number == 999){//zapisywanie karty raz na 1 sec
	  				SD_In_Use = 1;
	  				LED_uSD_1;
	  				fresult = f_open(&fil, "file.txt", FA_OPEN_APPEND | FA_WRITE);
	  				fresult = f_write(&fil, DataToSendBuffer, 129000, &bw);
	  				fresult = f_close(&fil);
	  				LED_uSD_0;
	  				SD_In_Use = 0;
	  				}

	  			Mainloop_Number = Mainloop_Number < 1000 ? Mainloop_Number+1 : 0;
	  		}

	  		if(MYDRON.Status.Connection == DRON_DISCONNECTED){
	  			if(NRF24.Step == 0){
	  				NRF24.Step = 2;
	  				NRF24.Status = NRF24_Ready;
	  				HAL_Delay(10);
	  			}
	  			if(NRF24.Step == 9){
	  				NRF24.Step = 0;

	  			}
	  		}
	  		if(TIM_inte == 1){
	  			LED_R_0;
	  			TIM_inte = 0;
	  		}

    /* USER CODE END WHILE */

  }
}

void SystemClock_Config(void)
{
  RCC_OscInitTypeDef RCC_OscInitStruct = {0};
  RCC_ClkInitTypeDef RCC_ClkInitStruct = {0};

  /** Supply configuration update enable
  */
  HAL_PWREx_ConfigSupply(PWR_LDO_SUPPLY);

  /** Configure the main internal regulator output voltage
  */
  __HAL_PWR_VOLTAGESCALING_CONFIG(PWR_REGULATOR_VOLTAGE_SCALE0);

  while(!__HAL_PWR_GET_FLAG(PWR_FLAG_VOSRDY)) {}

  /** Initializes the RCC Oscillators according to the specified parameters
  * in the RCC_OscInitTypeDef structure.
  */
  RCC_OscInitStruct.OscillatorType = RCC_OSCILLATORTYPE_CSI|RCC_OSCILLATORTYPE_HSE;
  RCC_OscInitStruct.HSEState = RCC_HSE_ON;
  RCC_OscInitStruct.CSIState = RCC_CSI_ON;
  RCC_OscInitStruct.CSICalibrationValue = 16;
  RCC_OscInitStruct.PLL.PLLState = RCC_PLL_ON;
  RCC_OscInitStruct.PLL.PLLSource = RCC_PLLSOURCE_HSE;
  RCC_OscInitStruct.PLL.PLLM = 3;
  RCC_OscInitStruct.PLL.PLLN = 68;
  RCC_OscInitStruct.PLL.PLLP = 1;
  RCC_OscInitStruct.PLL.PLLQ = 2;
  RCC_OscInitStruct.PLL.PLLR = 2;
  RCC_OscInitStruct.PLL.PLLRGE = RCC_PLL1VCIRANGE_3;
  RCC_OscInitStruct.PLL.PLLVCOSEL = RCC_PLL1VCOWIDE;
  RCC_OscInitStruct.PLL.PLLFRACN = 6144;
  if (HAL_RCC_OscConfig(&RCC_OscInitStruct) != HAL_OK)
  {
    Error_Handler();
  }

  /** Initializes the CPU, AHB and APB buses clocks
  */
  RCC_ClkInitStruct.ClockType = RCC_CLOCKTYPE_HCLK|RCC_CLOCKTYPE_SYSCLK
                              |RCC_CLOCKTYPE_PCLK1|RCC_CLOCKTYPE_PCLK2
                              |RCC_CLOCKTYPE_D3PCLK1|RCC_CLOCKTYPE_D1PCLK1;
  RCC_ClkInitStruct.SYSCLKSource = RCC_SYSCLKSOURCE_PLLCLK;
  RCC_ClkInitStruct.SYSCLKDivider = RCC_SYSCLK_DIV1;
  RCC_ClkInitStruct.AHBCLKDivider = RCC_HCLK_DIV2;
  RCC_ClkInitStruct.APB3CLKDivider = RCC_APB3_DIV2;
  RCC_ClkInitStruct.APB1CLKDivider = RCC_APB1_DIV2;
  RCC_ClkInitStruct.APB2CLKDivider = RCC_APB2_DIV2;
  RCC_ClkInitStruct.APB4CLKDivider = RCC_APB4_DIV2;

  if (HAL_RCC_ClockConfig(&RCC_ClkInitStruct, FLASH_LATENCY_3) != HAL_OK)
  {
    Error_Handler();
  }
}

void PeriphCommonClock_Config(void)
{
  RCC_PeriphCLKInitTypeDef PeriphClkInitStruct = {0};

  /** Initializes the peripherals clock
  */
  PeriphClkInitStruct.PeriphClockSelection = RCC_PERIPHCLK_ADC|RCC_PERIPHCLK_SPI2
                              |RCC_PERIPHCLK_SPI1;
  PeriphClkInitStruct.PLL2.PLL2M = 22;
  PeriphClkInitStruct.PLL2.PLL2N = 192;
  PeriphClkInitStruct.PLL2.PLL2P = 3;
  PeriphClkInitStruct.PLL2.PLL2Q = 2;
  PeriphClkInitStruct.PLL2.PLL2R = 2;
  PeriphClkInitStruct.PLL2.PLL2RGE = RCC_PLL2VCIRANGE_0;
  PeriphClkInitStruct.PLL2.PLL2VCOSEL = RCC_PLL2VCOMEDIUM;
  PeriphClkInitStruct.PLL2.PLL2FRACN = 0;
  PeriphClkInitStruct.Spi123ClockSelection = RCC_SPI123CLKSOURCE_PLL2;
  PeriphClkInitStruct.AdcClockSelection = RCC_ADCCLKSOURCE_PLL2;
  if (HAL_RCCEx_PeriphCLKConfig(&PeriphClkInitStruct) != HAL_OK)
  {
    Error_Handler();
  }
}

/* USER CODE BEGIN 4 */
void HAL_TIM_PeriodElapsedCallback(TIM_HandleTypeDef *htim)
{
	if(htim == &htim24){//100ms
		BMP180_start_measurment_temp_IT();
		BMP180.Step++;//Step 1
	}
	if(htim == &htim23){//0.5 ms
		if(BMP180.Timer_1 == 9){//4.5ms
			HAL_TIM_Base_Stop_IT(&htim23);
			BMP180_READ_temp_IT();
			BMP180.Step++;//Step 3
		}
		if(BMP180.Timer_1 == 61){//25.5ms
			HAL_TIM_Base_Stop_IT(&htim23);
			BMP180_READ_pres_IT();
			BMP180.Step++;//Step 6
		}
		BMP180.Timer_1++;
	}

	if(htim == &htim2)// 1 ms
	{
		TIM_inte_SD = 1;
		TIM_inte = 1;
		NRF_TIM_Inte++;

		if(NRF24.Timer_1 == 0){
			if(NRF24.Step == 2  && NRF24.Status == NRF24_Ready){
				LED_6_1;
				nRF24_TX_Mode();
				LED_6_0;
				NRF24.Step++;//Step 3
				NRF24.Timer_1 = 1;
			}
			if(NRF24.Step == 3 && NRF24.Timer_1 == 0){
				NRF24.Status = NRF24_Ready;
				NRF24.NRF24_MODE = NRF24_Tx_Mode;
				NRF24.TxData[10] = (MYDRON.Status.Connection == DRON_DISCONNECTED) ? 1: 0;

				LED_6_1;
				nRF24_WriteTXPayload_IT(NRF24.TxData);
				LED_6_0;
				NRF24.Step++;//Step 4
			}
			if(NRF24.Step == 5){
				NRF24_CE_LOW;
				NRF24.Step++;//Step 6
			}
			if(NRF24.Step == 6){
				LED_6_1;
				uint8_t status = nRF24_ReadStatus();
				if(((status & (1<<NRF24_MAX_RT)) || (status & (1<<NRF24_TX_DS)))){//nRF24_WaitTX()
					NRF24.Timer_2 = 1;
					NRF24.Status = NRF24_Ready;
					NRF24.Step++;//Step 7
				}
				LED_6_0;
			}
		}
		if(NRF24.Timer_2 == 0 && NRF24.Step == 7 && NRF24.Status == NRF24_Ready){
			LED_6_1;
			nRF24_RX_Mode();
			LED_6_0;
			NRF24.Timer_2 = 1;
			NRF24.Step++;//Step 8
		}
		if(NRF24.Timer_2 == 0 && NRF24.Step == 8){
			NRF24.Status = NRF24_Ready;
			NRF24.NRF24_MODE = NRF24_Rx_Mode;
			NRF24.Step = 0;
		}

		if(i == 0){// na calosc 100ms
			RGB_LED_For_BAT(MYDRON.batterysize);
		}
		if(i == 36){
			LED_5_1;
			HMC5883L_Get_Z_Start_IT();
			LED_5_0;
		}

		if(i == 40){//5
			Get_batteryvalue();
			convert_value_to_array(MYDRON.dronheight, NRF24.TxData, 0, 3);
			convert_value_to_array(MYDRON.batterysize, NRF24.TxData, 3, 6);

			for(int i = 0; i < 10; i++){
				NRF24.TxData[22+i] = NRF24.Txcode[22+i];
			}
		}

		LED_5_1;
		MPU6050_GET_ACCANDGYR_CALANDSCL_IT();
		LED_5_0;

		i = (i == 100) ? 0 : i+1;

		if(NRF_TIM_Inte >= 1000){
			LED_R_1;
			MYDRON.Status.Connection = DRON_DISCONNECTED;
		}
		if(MYDRON.Status.Connection == DRON_DISCONNECTED){
			MYDRON.Rool.Wanted = 0;
			MYDRON.Pitch.Wanted = 0;
			MYDRON.Yaw.Wanted = 0;
			MYDRON.Thrust.Wanted = DRON_SLOWFALING;
		}
		NRF24.Timer_1 != 0 ? NRF24.Timer_1--: 0;
		NRF24.Timer_2 != 0 ? NRF24.Timer_2--: 0;
		BMP180.Timer != 0 ? BMP180.Timer--: 0;
	}
}

void HAL_GPIO_EXTI_Callback(uint16_t GPIO_Pin)
{

	if(GPIO_Pin == GPIO_PIN_15)
	{
		NRF24_inte = 1;
		if(STARTUP == 0){
			LED_6_1;
			nRF24_ReadRXPaylaod_IT(NRF24.RxData);
			NRF24.Step++;//step 1
			LED_6_0;
		}
	}
}

void HAL_UART_RxCpltCallback(UART_HandleTypeDef *huart)//pobieranie znakw z uart
{
	USART.words[USART.command_ch_num] = USART.Received;

	if(USART.words[USART.command_ch_num] == '\r')
	{
		char Y = '\n';
		HAL_UART_Transmit(&huart1, (uint8_t *)&Y, 1, 100);
		Y = '\r';
		HAL_UART_Transmit(&huart1, (uint8_t *)&Y, 1, 100);
		USART.words[USART.command_ch_num] = 0;
		USART.commandready = 1;
	}

	HAL_UART_Transmit_IT(&huart1, (uint8_t *)&USART.words[USART.command_ch_num], 1);
	HAL_UART_Receive_IT(&huart1, &USART.Received, 1);
	USART.command_ch_num++;

	if(USART.commandready == 1)
	{
		USART.command_ch_num = 0;
	}
}

void HAL_I2C_MemTxCpltCallback(I2C_HandleTypeDef *hi2c){
	if(BMP180.Step == 1){
		HAL_TIM_Base_Start_IT(&htim23);
		BMP180.Step++;//Step 2
	}
	if(BMP180.Step == 4){
		HAL_TIM_Base_Start_IT(&htim23);
		BMP180.Step++;//Step 5
	}
}

void HAL_I2C_MemRxCpltCallback(I2C_HandleTypeDef *hi2c){
	if(MPU6050.MPU6050_IRQ == 1){
			MPU6050.MPU6050_IRQ = 0;

			LED_G_1;

			MPU6050_GET_CALANDSCL_IT();
			MPU6050_GET_ACCEL_TO_ANGLE();
			MPU6050_GET_ACCANDGYR_FILTRED(&data, HMC5883L.Directions.Z);

			MYDRON.Pitch.Now = data.x;
			MYDRON.Rool.Now = data.y;
			MYDRON.Yaw.Now = data.z;

			MYDRON.Rool.Wanted = (float)MYDRON.Rool.Wanted_rx/10;
			MYDRON.Pitch.Wanted = (float)MYDRON.Pitch.Wanted_rx/10;
			MYDRON.Yaw.Wanted = 0;//(float)MYDRON.Yaw.Wanted_rx/10;
				  			/*
				  				 * FDP
				  				 */
			MYDRON.Rool.Wanted = (MYDRON.Rool.Wanted * (FDP_FQ * looptime) / (1 + (FDP_FQ * looptime))) + (MYDRON.Rool.Last_Wanted_rx * (1 / (1 + (FDP_FQ * looptime))));
			MYDRON.Pitch.Wanted = (MYDRON.Pitch.Wanted * (FDP_FQ * looptime) / (1 + (FDP_FQ * looptime))) + (MYDRON.Pitch.Last_Wanted_rx * (1 / (1 + (FDP_FQ * looptime))));
			MYDRON.Yaw.Wanted = (MYDRON.Yaw.Wanted * (FDP_FQ * looptime) / (1 + (FDP_FQ * looptime))) + (MYDRON.Yaw.Last_Wanted_rx * (1 / (1 + (FDP_FQ * looptime))));

			MYDRON.Rool.Last_Wanted_rx = MYDRON.Rool.Wanted;
			MYDRON.Pitch.Last_Wanted_rx = MYDRON.Pitch.Wanted;
			MYDRON.Yaw.Last_Wanted_rx= MYDRON.Yaw.Wanted;

			MYDRON.Pitch.Angle_Error = MYDRON.Pitch.Wanted - MYDRON.Pitch.Now;
			MYDRON.Rool.Angle_Error = MYDRON.Rool.Wanted - MYDRON.Rool.Now;
		  	MYDRON.Yaw.Angle_Error = MYDRON.Yaw.Wanted - MYDRON.Yaw.Now;
		  	MYDRON.Pitch.Angular_Rate_Error = MYDRON.PID_Pitch.Angle_Value- MPU6050.Gyr.gx;
		  	MYDRON.Rool.Angular_Rate_Error = MYDRON.PID_Rool.Angle_Value- MPU6050.Gyr.gy;
		  	MYDRON.Yaw.Angular_Rate_Error = MYDRON.PID_Yaw.Angle_Value- MPU6050.Gyr.gz;

			MYDRON.Pitch.Angle_Error_Sum = (MYDRON.PID_Pitch.Status != 0) ? MYDRON.Pitch.Angle_Error_Sum : MYDRON.Pitch.Angle_Error_Sum + (MYDRON.Pitch.Angle_Error);//pitch_error -> pitch_error
			MYDRON.Rool.Angle_Error_Sum = (MYDRON.PID_Rool.Status != 0) ? MYDRON.Rool.Angle_Error_Sum : MYDRON.Rool.Angle_Error_Sum + (MYDRON.Rool.Angle_Error);//rool_error
			MYDRON.Yaw.Angle_Error_Sum = (MYDRON.PID_Yaw.Status != 0) ? MYDRON.Yaw.Angle_Error_Sum : MYDRON.Yaw.Angle_Error_Sum + (MYDRON.Yaw.Angle_Error);//yaw_error

			MYDRON.Pitch.Angular_Rate_Error_Sum = (MYDRON.PID_Pitch.Status != 0) ? MYDRON.Pitch.Angular_Rate_Error_Sum : MYDRON.Pitch.Angular_Rate_Error_Sum + (MYDRON.Pitch.Angular_Rate_Error);//pitch_ar_error
			MYDRON.Rool.Angular_Rate_Error_Sum = (MYDRON.PID_Rool.Status != 0) ? MYDRON.Rool.Angular_Rate_Error_Sum : MYDRON.Rool.Angular_Rate_Error_Sum + (MYDRON.Rool.Angular_Rate_Error);
			MYDRON.Yaw.Angular_Rate_Error_Sum = (MYDRON.PID_Yaw.Status != 0) ? MYDRON.Yaw.Angular_Rate_Error_Sum : MYDRON.Yaw.Angular_Rate_Error_Sum + (MYDRON.Yaw.Angular_Rate_Error);

			PID_call(MYDRON);

			MYDRON.Pitch.Old_Angle_Error = MYDRON.Pitch.Angle_Error;
			MYDRON.Rool.Old_Angle_Error = MYDRON.Rool.Angle_Error;
			MYDRON.Yaw.Old_Angle_Error = MYDRON.Yaw.Angle_Error;

			MYDRON.Pitch.Old_Angle_Error = MYDRON.Pitch.Angular_Rate_Error;
			MYDRON.Rool.Old_Angle_Error = MYDRON.Rool.Angular_Rate_Error;
			MYDRON.Yaw.Old_Angle_Error = MYDRON.Yaw.Angular_Rate_Error;

			MYDRON.Pitch.Value  	= (MYDRON.PID_Pitch.Angular_Rate_Value > 5000) ? PITCH_MAX_VAL(): (MYDRON.PID_Pitch.Angular_Rate_Value < -5000) ? PITCH_MIN_VAL(): PITCH_GOOD_VAL();
			MYDRON.Rool.Value 	    = (MYDRON.PID_Rool.Angular_Rate_Value > 5000) ? ROOL_MAX_VAL(): (MYDRON.PID_Rool.Angular_Rate_Value < -5000) ? ROOL_MIN_VAL(): ROOL_GOOD_VAL();
			MYDRON.Yaw.Value  		= (MYDRON.PID_Yaw.Angular_Rate_Value > 5000) ? YAW_MAX_VAL(): (MYDRON.PID_Yaw.Angular_Rate_Value < -5000) ? YAW_MIN_VAL(): YAW_GOOD_VAL();

		/*
			MYDRON.PITCH 	= (pid_angular_rate_pitch);
			MYDRON.YAW 		= (pid_angular_rate_yaw);
		 */

//			wobble_strenght = Wobble_Detect();
//			if(wobble_strenght > 1){
//				wanted_thrust = MYDRON.THRUST/wobble_strenght;
//				Wobble_handler();
//			}

			Thrust_filter(1);
			if(MYDRON.Thrust.Now > MYDRON.Thrust.Thrust_Limit){
				MYDRON.Thrust.Now = MYDRON.Thrust.Thrust_Limit;
			}

			Stack_Push(WartoscBezwgledna(MYDRON.PID_Pitch.Angle_Factors[4]));
			Stack_Push(WartoscBezwgledna(MYDRON.PID_Pitch.Angle_Factors[4]));
			Stack_Push(MYDRON.Pitch.Now);
			Stack_Push(MYDRON.Rool.Now);

			MYDRON.Thrust.Speed_1 = (((uint32_t)((MYDRON.Thrust.Now*0.7) + MYDRON.Rool.Value - MYDRON.Pitch.Value + MYDRON.Yaw.Value + min_speed + 500)) < max_speed) ? ((MYDRON.Thrust.Now*0.7) + MYDRON.Rool.Value - MYDRON.Pitch.Value + MYDRON.Yaw.Value + min_speed + 500) : max_speed;//trust 7000 max
			MYDRON.Thrust.Speed_2 = (((uint32_t)((MYDRON.Thrust.Now*0.7) - MYDRON.Rool.Value - MYDRON.Pitch.Value - MYDRON.Yaw.Value + min_speed + 500)) < max_speed) ? ((MYDRON.Thrust.Now*0.7) - MYDRON.Rool.Value - MYDRON.Pitch.Value - MYDRON.Yaw.Value + min_speed + 500) : max_speed;//
			MYDRON.Thrust.Speed_3 = (((uint32_t)((MYDRON.Thrust.Now*0.7) + MYDRON.Rool.Value + MYDRON.Pitch.Value - MYDRON.Yaw.Value + min_speed + 500)) < max_speed) ? ((MYDRON.Thrust.Now*0.7) + MYDRON.Rool.Value + MYDRON.Pitch.Value - MYDRON.Yaw.Value + min_speed + 500) : max_speed;//
			MYDRON.Thrust.Speed_4 = (((uint32_t)((MYDRON.Thrust.Now*0.7) - MYDRON.Rool.Value + MYDRON.Pitch.Value + MYDRON.Yaw.Value + min_speed + 500)) < max_speed) ? ((MYDRON.Thrust.Now*0.7) - MYDRON.Rool.Value + MYDRON.Pitch.Value + MYDRON.Yaw.Value + min_speed + 500) : max_speed;//

			if( MYDRON.Thrust.Speed_1 != MYDRON.Thrust.Old_Speed_1){
				ESC_1_SPEED( MYDRON.Thrust.Speed_1);
			}
			if( MYDRON.Thrust.Speed_2 != MYDRON.Thrust.Old_Speed_2){
				ESC_2_SPEED( MYDRON.Thrust.Speed_2);
			}
			if( MYDRON.Thrust.Speed_3 != MYDRON.Thrust.Old_Speed_3){
				ESC_3_SPEED( MYDRON.Thrust.Speed_3);
			}
			if( MYDRON.Thrust.Speed_4 != MYDRON.Thrust.Old_Speed_4){
				ESC_4_SPEED( MYDRON.Thrust.Speed_4);
			}

			MYDRON.Thrust.Old_Speed_1 = MYDRON.Thrust.Speed_1;
			MYDRON.Thrust.Old_Speed_2 = MYDRON.Thrust.Speed_2;
			MYDRON.Thrust.Old_Speed_3 = MYDRON.Thrust.Speed_3;
			MYDRON.Thrust.Old_Speed_4 = MYDRON.Thrust.Speed_4;

			LED_G_0;
	}
	if(HMC5883L.HMC583L_IRQ == 1){
		HMC5883L.HMC583L_IRQ = 0;
		HMC5883L_Get_Z_End_IT();
		HMC5883L.Directions.Z = (HMC5883L.Directions.Z * (FDP_Mag_Z_FQ * 0.1) / (1 + (FDP_Mag_Z_FQ * 0.1))) + (HMC5883L.Directions.Old_Z * (1 / (1 + (FDP_Mag_Z_FQ * 0.1)))); // 0.1 to looptime, co 100ms odczyt
		HMC5883L.Directions.Old_Z = HMC5883L.Directions.Z;
	}
	if(BMP180.Step == 3){
		BMP180.Raw_Data.temperature = BMP180_GET_temp_IT();
		BMP180.temp = BMP180_GET_temp(BMP180.Raw_Data.temperature);
		BMP180_start_measurment_pres_IT();
		BMP180.Step++;// Step 4
	}
	if(BMP180.Step == 6){
		BMP180.Raw_Data.pressure = BMP180_GET_pres_IT();
		BMP180.pres = BMP180_GET_pres(BMP180.Raw_Data.pressure);
		BMP180.ampritude = BMP180.startpres - BMP180.pres;
		MYDRON.dronheight = (int16_t)BMP180_GET_height();
		BMP180.Timer_1 = 0;
		BMP180.Step = 0;
	}
}

void HAL_SPI_TxCpltCallback(SPI_HandleTypeDef * hspi){
	if(NRF24.SPI_Tx_Inte == 1 && NRF24.Step == 4){
		LED_6_1;
		NRF24_CSN_HIGH;
		NRF24_CE_HIGH;//nRF24_WaitTX()
		LED_6_0;
		//
		NRF24.Status = NRF24_Ready;
		NRF24.Timer_1 = 1;
		NRF24.SPI_Tx_Inte = 0;
		NRF24.Step++;//Step 5
	}
}

void HAL_SPI_RxCpltCallback(SPI_HandleTypeDef * hspi){
	if(STARTUP == 0 && NRF24.SPI_Rx_Inte == 1 && NRF24.Step == 1){

		NRF24.SPI_Rx_Inte = 0;
		LED_6_1;
		nRF24_ReadRXPaylaod_IT_End();
		LED_6_0;
		NRF24.Step++;//step 2
		NRF24.Timer_1 = 2;

		LED_Y_1;

		loopnum = 0;
		for(int abc = 0; abc < 10; abc++){//sprawdzenia poprawnosci kodu nadanego
			if(NRF24.RxData[12+abc] == NRF24.Rxcode[abc+12]){
				loopnum++;
			}
		}

		if(loopnum == 10){
			convert_array_to_value(NRF24.RxData, &MYDRON.Pitch.Wanted_v, 0, 2);//pitch
			convert_array_to_value(NRF24.RxData, &MYDRON.Rool.Wanted_v, 3, 5);// pid_angular_rate_rool wanted_roll_v
			if(wobble_strenght == 1){
				convert_array_to_value(NRF24.RxData, &MYDRON.Thrust.Wanted, 6, 8);//
			}
			convert_array_to_value(NRF24.RxData, &MYDRON.Yaw.Wanted_v, 9, 11);//
			MYDRON.Status.Connection = DRON_CONNECTED;

			if(NRF24.RxData[23] == 1){
				ESC_POWER_1;
				LED_R_1;
				if(SD_enable_Flag == 1){
					f_close(&fil);
					fresult = f_mount(NULL, "/", 1);
					}
			}

			if(MYDRON.Thrust.Wanted == 9999){
				MYDRON.Thrust.Max_Flag = THRUST_MAX;
		  	}
			MYDRON.Thrust.Wanted = MYDRON.Thrust.Wanted * 20;
			MYDRON.Thrust.Wanted = MYDRON.Thrust.Wanted - 10000;
			if(MYDRON.Thrust.Wanted < 0){
				MYDRON.Thrust.Wanted = 0;
			}

			MYDRON.Rool.Wanted_rx = (MYDRON.Rool.Wanted_v - 500)*MYDRON.Rool.Wanted_Factor;//MYDRON.Rool.Wanted_rx (-90 <-> 90)
			MYDRON.Pitch.Wanted_rx = (MYDRON.Pitch.Wanted_v - 500)*MYDRON.Pitch.Wanted_Factor;// (-450 <-> 450)
			MYDRON.Yaw.Wanted_rx = (MYDRON.Yaw.Wanted_v - 500)*MYDRON.Yaw.Wanted_Factor;// wanted yaw is in deg/s

			MYDRON.Rool.Wanted_rx = (MYDRON.Rool.Wanted_rx >= 300) ? 300 : (MYDRON.Rool.Wanted_rx <= -300) ? -300 : MYDRON.Rool.Wanted_rx;
			MYDRON.Pitch.Wanted_rx = (MYDRON.Pitch.Wanted_rx >= 300) ? 300 : (MYDRON.Pitch.Wanted_rx <= -300) ? -300 : MYDRON.Pitch.Wanted_rx;
			MYDRON.Yaw.Wanted_rx = (MYDRON.Yaw.Wanted_rx >= 300) ? 300 : (MYDRON.Yaw.Wanted_rx <= -300) ? -300 : MYDRON.Yaw.Wanted_rx;

			NRF_TIM_Inte = 0;
		}

		if(loopnum > 0 && loopnum < 10){
			MYDRON.Status.Connection = DRON_CONNECTION_ERROR;
		}
		LED_Y_0;
	}
}

void convert_array_to_value(uint8_t arrayfrom[], int16_t *value , uint8_t rangebegin, uint8_t rangeend){
	*value = 0;
	int range = rangeend - rangebegin;

	for(int y = 0; y < range+1; y++){
		*value = *value + arrayfrom[rangebegin+y]*pow(10, range - y);
	}
}

void convert_value_to_array(int16_t value, uint8_t *arraytoputin, uint8_t rangebegin, uint8_t rangeend){
	int x = 0;
	int loopnum = 0;
	int range = rangeend - rangebegin;
	for(int i = 0; i < range+1; i++){// 3
		while(value >= (uint16_t)pow(10,range - i)){
			if(value == 0){
				break;
			}
			value -= (uint16_t)potenga(10,range - i);
			x++;
		}
		arraytoputin[rangebegin+loopnum] = (uint8_t)x;
		loopnum++;
		x = 0;
	}
}
uint32_t potenga(int a, int b){
	int32_t c = a;
	if(b == 0){
		return 1;
	}
	if(b == 1){
		return a;
	}
	if(b > 1){
			for(int i = 1; i < b; i++){
			a = a*c;
		}
		return a;
	}
	if(b < 0){
		for(int i = 0; i < b; i++){
			a = a/c;
		}
		return a;
	}
	return a;
}
float WartoscBezwgledna(float a){
	a = (a < 0) ? a*(-1) : a;
	return a;
}

int _write(int file, char *ptr, int len)
{
  (void)file;
  int DataIdx;

  for (DataIdx = 0; DataIdx < len; DataIdx++)
  {
    ITM_SendChar(*ptr++);
  }
  return len;
}

void RGB_LED_Set_color(uint8_t R, uint8_t G, uint8_t B){
	__HAL_TIM_SET_COMPARE(&htim1, TIM_CHANNEL_2, B);
	__HAL_TIM_SET_COMPARE(&htim1, TIM_CHANNEL_3, R);
	__HAL_TIM_SET_COMPARE(&htim1, TIM_CHANNEL_4, G);
}

void RGB_LED_For_BAT(uint8_t batval){
/*
 * batval == 150  r = 0, g = 255 b = 0
 * batval == 75	  r = 128 g = 128 b = 0
 * batval == 0    r = 255 g = 0 b = 0
 *
 *   r + g = 255
 */
	RGB_LED_Set_color((255 - ((float)batval*2.55)), ((float)batval*2.55), 0);
}

/*convert_value_to_array2
 *
 *
 * value - wartosc konwertowana
 * arraytoputin - adres tablicy do której chcemy zapisac
 * rangebegin - poczontek tablicy w którym zaczynamy zapisywac
 * rangeend - koniec tablicy
 *
 * nalezy pamientac by dodac +1 do rangeend, poniewaz pierwsze miejsce w tablicy moze byc znak -
 *
 *	[0] -
 *	[1] 2
 *	[2] 2
 */

void convert_value_to_array2(int16_t value, uint8_t *arraytoputin, uint8_t rangebegin, uint8_t rangeend){
	int x = 0;
	int loopnum = 0;
	int range = rangeend - rangebegin;

	if(value < 0){
		arraytoputin[rangebegin] = '-';
	}

	for(int i = 1; i < range+1; i++){// 3
		while(value >= (uint16_t)potenga(10,range - i)){
			if(value == 0){
				break;
			}
			value -= (uint16_t)potenga(10,range - i);
			x++;
		}
		arraytoputin[rangebegin + loopnum] = (uint8_t)x + 48;//zamiana na ASCII
		loopnum++;
		x = 0;
	}
}

/*
 * 12.055
 *
 * 1
 * 2
 * .
 * 0
 * 5
 * 5
 *
 *	1000.1
 *
 *	range = 5
 *
 */
void convert_value_to_array3(float value, uint8_t *arraytoputin, uint8_t rangebegin, uint8_t rangeend){
	int x = 0;
	int loopnum = 0;
	int range = rangeend - rangebegin;
	int power_of_value = 0;
	float a;
	int kropka;

	if(value < 0){
		arraytoputin[rangebegin] = '-';
		value = value * -1;
	}

	//sprawdzenie wagi pierwsazej liczby znaczącej
	//potrzebne do dzielenia
	for(int i = 1; i < range*2; i++){
		a = pow(10,range - i);
		if(value >= a){
			break;
		}
		power_of_value++;
	}

	power_of_value = range - power_of_value - 1;

	//		Sprawdzic gdzie jest kropka 0.00123 123.01 12.12
	if(power_of_value <= 0){
		arraytoputin[rangebegin + 1] = '.';
		kropka = 1;
	}
	if(power_of_value > 0){
		arraytoputin[rangebegin + power_of_value + 1] = '.';
		kropka = power_of_value + 1;
	}

	value = value*pow(10,(range-1) - power_of_value);

	for(int i = 0; i < range-2; i++){// range-2 poniewaz jest znak kropki i ewentualny znak minusa na początku
		while(value >= (uint16_t)pow(10,(range-1) - i)){
			if(value <= 0){
				break;
			}
			value = value - pow(10,(range-1) - i);
			x++;
		}

        if(loopnum == kropka){
            loopnum++;
        }
		arraytoputin[rangebegin + loopnum] = (uint8_t)x + 48;//zamiana na ASCII
		loopnum++;
		x = 0;
	}
}
/*
 *
 * Save to SD :
 *
 * SPEED1	5 6
 * SPEED2 	5
 * SPEED3	5
 * SPEED4	5
 *
 * MYDRON.Pitch.Angle_Error_pitch 7 8
 * MYDRON.Pitch.Angle_Error_rool 7
 * MYDRON.Pitch.Angle_Error_yaw 7
 *
 * data.x 6 7
 * data.y 6
 * data.z 6
 *
 * MYDRON.batterysize 3 4
 * MYDRON.dron_status.Connection 1 2
 *
 * 					 PID_FAC_Pitch[5]; 7 8
 *						 PID_FAC_Rool[5]; 7
 *						 						PID_FAC_Yaw[5]; 7
 *
 * Numer pentli 7 8
 *
 * Mag_Z 3
 */
void uSD_Card_SendData_To_Buffer(uint32_t a){
	convert_value_to_array2(Mainloop_Number, DataToSendBuffer, (0 + (128*a)), (8 + (128*a)));
	 DataToSendBuffer[(8 + (128*a))] = ' ';

	convert_value_to_array2(MYDRON.Thrust.Speed_1, DataToSendBuffer, (9 + (128*a)), (15 + (128*a)));
	 DataToSendBuffer[(15 + (128*a))] = ' ';
	convert_value_to_array2(MYDRON.Thrust.Speed_2, DataToSendBuffer, (16 + (128*a)), (22 + (128*a)));
	 DataToSendBuffer[(22 + (128*a))] = ' ';
	convert_value_to_array2(MYDRON.Thrust.Speed_3, DataToSendBuffer, (23 + (128*a)), (29 + (128*a)));
	 DataToSendBuffer[(29 + (128*a))] = ' ';
	convert_value_to_array2(MYDRON.Thrust.Speed_4, DataToSendBuffer, (30 + (128*a)), (36 + (128*a)));
	 DataToSendBuffer[(36 + (128*a))] = ' ';

	convert_value_to_array3(MYDRON.Rool.Wanted, DataToSendBuffer, (37 + (128*a)), (45 + (128*a)));
	 DataToSendBuffer[(45 + (128*a))] = ' ';
	convert_value_to_array3(MYDRON.Pitch.Wanted, DataToSendBuffer, (46 + (128*a)), (54 + (128*a)));
	 DataToSendBuffer[(54 + (128*a))] = ' ';
	convert_value_to_array3(MYDRON.Yaw.Wanted, DataToSendBuffer, (55 + (128*a)), (63 + (128*a)));
	 DataToSendBuffer[(63 + (128*a))] = ' ';

	convert_value_to_array2(MYDRON.Pitch.Angle_Error_Sum, DataToSendBuffer, (64 + (128*a)), (72 + (128*a)));
	 DataToSendBuffer[(72 + (128*a))] = ' ';
	convert_value_to_array2(MYDRON.Rool.Angle_Error_Sum, DataToSendBuffer, (73 + (128*a)), (81 + (128*a)));
	 DataToSendBuffer[(81 + (128*a))] = ' ';
	convert_value_to_array2(MYDRON.Yaw.Angle_Error_Sum, DataToSendBuffer, (82 + (128*a)), (90 + (128*a)));
	 DataToSendBuffer[(90 + (128*a))] = ' ';

	convert_value_to_array3(data.x, DataToSendBuffer, (91 + (128*a)), (98 + (128*a)));
	 DataToSendBuffer[(98 + (128*a))] = ' ';
	convert_value_to_array3(data.y, DataToSendBuffer, (99 + (128*a)), (106 + (128*a)));
	 DataToSendBuffer[(106 + (128*a))] = ' ';
	convert_value_to_array3(data.z, DataToSendBuffer, (107 + (128*a)), (114 + (128*a)));
	 DataToSendBuffer[(114 + (128*a))] = ' ';

	convert_value_to_array2(MYDRON.batterysize, DataToSendBuffer, (115 + (128*a)), (119 + (128*a)));
	 DataToSendBuffer[(119 + (128*a))] = ' ';
	convert_value_to_array2(MYDRON.Status.Connection, DataToSendBuffer, (120 + (128*a)), (122 + (128*a)));
	 DataToSendBuffer[(122 + (128*a))] = ' ';
	convert_value_to_array2(HMC5883L.Directions.Z, DataToSendBuffer, (123 + (128*a)), (127 + (128*a)));
	 DataToSendBuffer[(128 + (128*a))] = '\n';
}

void Stack_Push(float data){
	Old_Data_stack.start_pointer++;
	if(Old_Data_stack.start_pointer == 4000){
		Old_Data_stack.start_pointer = 0;
	}
	Old_Data_stack.olddata[Old_Data_stack.start_pointer] = data;

	Old_Data_stack.end_pointer++;
	if(Old_Data_stack.start_pointer == 4000){
		Old_Data_stack.start_pointer = 0;
	}
}

int16_t ROOL_MAX_VAL(void){
	MYDRON.PID_Rool.Status = 2;
	return 5000;
}
int16_t ROOL_MIN_VAL(void){
	MYDRON.PID_Rool.Status = 1;
	return -5000;
}
int16_t PITCH_MAX_VAL(void){
	MYDRON.PID_Pitch.Status = 2;
	return 5000;
}
int16_t PITCH_MIN_VAL(void){
	MYDRON.PID_Pitch.Status = 1;
	return -5000;
}
int16_t YAW_MAX_VAL(void){
	MYDRON.PID_Yaw.Status = 2;
	return 5000;
}
int16_t YAW_MIN_VAL(void){
	MYDRON.PID_Yaw.Status = 1;
	return -5000;
}
int16_t ROOL_GOOD_VAL(void){
	MYDRON.PID_Rool.Status = 0;
	return MYDRON.PID_Rool.Angular_Rate_Value;
}
int16_t PITCH_GOOD_VAL(void){
	MYDRON.PID_Pitch.Status = 0;
	return MYDRON.PID_Pitch.Angular_Rate_Value;
}
int16_t YAW_GOOD_VAL(void){
	MYDRON.PID_Yaw.Status = 0;
	return MYDRON.PID_Yaw.Angular_Rate_Value;
}
/* USER CODE END 4 */

 /* MPU Configuration */

void MPU_Config(void)
{
  MPU_Region_InitTypeDef MPU_InitStruct = {0};

  /* Disables the MPU */
  HAL_MPU_Disable();

  /** Initializes and configures the Region and the memory to be protected
  */
  MPU_InitStruct.Enable = MPU_REGION_ENABLE;
  MPU_InitStruct.Number = MPU_REGION_NUMBER0;
  MPU_InitStruct.BaseAddress = 0x0;
  MPU_InitStruct.Size = MPU_REGION_SIZE_4GB;
  MPU_InitStruct.SubRegionDisable = 0x87;
  MPU_InitStruct.TypeExtField = MPU_TEX_LEVEL0;
  MPU_InitStruct.AccessPermission = MPU_REGION_NO_ACCESS;
  MPU_InitStruct.DisableExec = MPU_INSTRUCTION_ACCESS_DISABLE;
  MPU_InitStruct.IsShareable = MPU_ACCESS_SHAREABLE;
  MPU_InitStruct.IsCacheable = MPU_ACCESS_NOT_CACHEABLE;
  MPU_InitStruct.IsBufferable = MPU_ACCESS_NOT_BUFFERABLE;

  HAL_MPU_ConfigRegion(&MPU_InitStruct);
  /* Enables the MPU */
  HAL_MPU_Enable(MPU_PRIVILEGED_DEFAULT);

}

void Error_Handler(void)
{
  __disable_irq();
  while (1)
  {
  }
}
